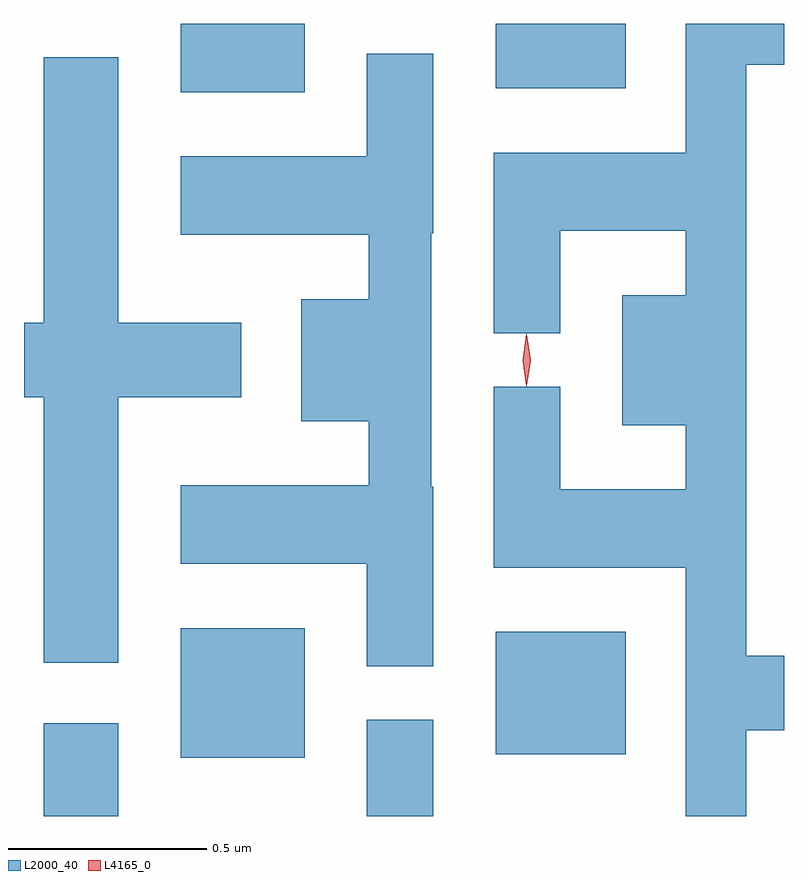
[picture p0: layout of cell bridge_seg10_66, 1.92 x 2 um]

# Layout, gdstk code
import gdstk
lib = gdstk.Library(unit=1e-6, precision=1e-09)
def R(c, l, rs):  # rectangles x0, y0, x1, y1
    for r in rs: c.add(gdstk.rectangle(r[:2], r[2:], *l))
def P(c, l, *ps):  # polygons
    for p in ps: c.add(gdstk.Polygon(p, *l))
L2000_40 = (2000, 40)
L4165_0 = (4165, 0)

bridge_seg10_66 = lib.new_cell('bridge_seg10_66')
R(bridge_seg10_66, L2000_40, [(1623.786,2164.659,1623.974,2164.894), (1624.601,2164.659,1624.769,2164.903), (1624.131,2164.806,1624.444,2165.134), (1624.926,2164.816,1625.254,2165.124), (1624.131,2166.486,1624.444,2166.659), (1624.926,2166.496,1625.254,2166.659)])
P(bridge_seg10_66, L2000_40, [(1625.559,2164.876),(1625.654,2164.876),(1625.654,2165.064),(1625.559,2165.064),(1625.559,2166.556),(1625.654,2166.556),(1625.654,2166.659),(1625.406,2166.659),(1625.406,2166.334),(1624.921,2166.334),(1624.921,2165.878),(1625.089,2165.878),(1625.089,2166.136),(1625.406,2166.136),(1625.406,2165.974),(1625.246,2165.974),(1625.246,2165.646),(1625.406,2165.646),(1625.406,2165.484),(1625.089,2165.484),(1625.089,2165.743),(1624.921,2165.743),(1624.921,2165.286),(1625.406,2165.286),(1625.406,2164.659),(1625.559,2164.659)],
  [(1624.769,2165.49),(1624.764,2165.49),(1624.764,2166.13),(1624.769,2166.13),(1624.769,2166.583),(1624.601,2166.583),(1624.601,2166.324),(1624.131,2166.324),(1624.131,2166.126),(1624.606,2166.126),(1624.606,2165.964),(1624.436,2165.964),(1624.436,2165.656),(1624.606,2165.656),(1624.606,2165.494),(1624.131,2165.494),(1624.131,2165.296),(1624.601,2165.296),(1624.601,2165.038),(1624.769,2165.038)],
  [(1623.974,2165.716),(1624.284,2165.716),(1624.284,2165.904),(1623.974,2165.904),(1623.974,2166.574),(1623.786,2166.574),(1623.786,2165.904),(1623.736,2165.904),(1623.736,2165.716),(1623.786,2165.716),(1623.786,2165.046),(1623.974,2165.046)])
P(bridge_seg10_66, L4165_0, [(1625.005,2165.744),(1625.004,2165.745),(1624.995,2165.81),(1625.004,2165.875),(1625.005,2165.876),(1625.005,2165.875),(1625.015,2165.81),(1625.005,2165.745)])

lib.write_gds('bridge_seg10_66.gds')
